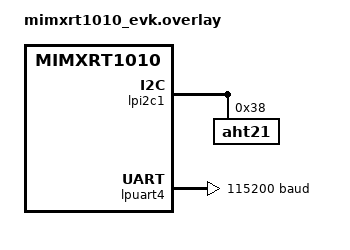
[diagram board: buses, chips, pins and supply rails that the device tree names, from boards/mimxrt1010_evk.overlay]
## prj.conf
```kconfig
CONFIG_GPIO=y
# CONFIG_I2C=y

# Added Foating point for Picolibc
CONFIG_HW_STACK_PROTECTION=y
CONFIG_CONSOLE=y
CONFIG_ARM_MPU=y
CONFIG_UART_CONSOLE=y
CONFIG_I2C=y
CONFIG_I2C_SHELL=y
CONFIG_REQUIRES_FLOAT_PRINTF=y
CONFIG_SHELL=y
CONFIG_DEBUG_OPTIMIZATIONS=y
```

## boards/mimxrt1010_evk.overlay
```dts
/{

		chosen {
		zephyr,console = &lpuart4;
		zephyr,shell-uart = &lpuart1;
		zephyr,uart-mcumgr = &lpuart1;
	};

};

&lpi2c1 {
  status = "okay";

	aht21: aht21@38 {
		// compatible (not yet)
		#io-channel-cells = <1>;
		reg = <0x38>;
		// label = "AHT21 Humidity and Temperature";	// <-deprecated
	};
};

&lpuart4 {
	status = "okay";
	current-speed = <115200>;
	pinctrl-0 = <&pinmux_lpuart4>;
	pinctrl-1 = <&pinmux_lpuart4_sleep>;
	pinctrl-names = "default", "sleep";
};
```

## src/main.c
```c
/*
 * Copyright (c) 2019 Nordic Semiconductor ASA
 *
 * SPDX-License-Identifier: Apache-2.0
 */

#include <zephyr/kernel.h>
#include <zephyr/device.h> 
#include <zephyr/drivers/i2c.h> 


#define I2C_NODE DT_NODELABEL(aht21)

#define STR_LEN 50	// strlen 
#define I2C_NOT_READY "i2c bus not ready"
#define I2C_ERROR_BUS_NOT_READY  "i2c error: bus is not ready"
#define I2C_ERROR_GET_STATUS "i2c error: GetStatus"
#define AHT_NEEDS_INITIALIZATION "AHT Needs Initialization"
#define I2C_ERROR_TRIGGER_MEASUREMENT  "i2c error: Trigger Measurement"
#define I2C_ERROR_READ_MEASUREMENT "i2c error: Read Measurement"

const uint16_t measurement_period = 250;

typedef enum {
	INIT,
	MEASUREMENT,
	SERVICE,
} aht_state_t;

typedef struct aht_tag {
	aht_state_t state;
	char str[STR_LEN];
	int eio;								// error i/o
	struct i2c_dt_spec i2c;
	int meas_period;
	double RH;
	double C;
	double F;
} aht_t;

int GetStatus(aht_t *a) {
	uint8_t get_status[] = {0x71};
	
	if( (a->eio = i2c_read_dt(&a->i2c, get_status, 1)) ) {
		sprintf(a->str,I2C_ERROR_GET_STATUS);	
		return 1;
	}
	
	if((get_status[0] & 0x18) != 0x18 ) {
		sprintf(a->str,AHT_NEEDS_INITIALIZATION);	
		return 1;
	}
	return 0;
}

void FormatData(aht_t *a, uint8_t *buffer) {
	static const uint32_t pow_2_20 = 0x100000;
	uint32_t s_rh = (uint32_t)buffer[1] << 12 | (uint32_t)buffer[2] << 4 | buffer[3] >> 4;
	a->RH = 100*((double)s_rh/pow_2_20);
	uint32_t s_t = (uint32_t)buffer[3] << 16 | (uint32_t)buffer[4] << 8 | (uint32_t)buffer[5];
	s_t &= 0x0FFFFF;
	a->C = ((double)s_t/pow_2_20)*200 -50;
	a->F = a->C *9/5 + 32;
}

int GetMeasurement(aht_t *a) {
	const uint8_t trigger_meas[] = { 0xAC, 0x33, 0x00};
	if((a->eio = i2c_write_dt(&a->i2c, trigger_meas, 3)) ) {
		sprintf(a->str,I2C_ERROR_TRIGGER_MEASUREMENT); 
		return 1;
	}
	k_msleep(80);
	a->meas_period = measurement_period - 80;
	const int max_retry = 10;
	for(int retries =0; retries < max_retry; ++retries) {
		uint8_t data[7];
		if((a->eio = i2c_read_dt(&a->i2c,data,7))) {
			sprintf(a->str, I2C_ERROR_READ_MEASUREMENT);	
			return 1;
		}
		else
			if((data[0]&0x80)==0) {
				FormatData(a, data);
				return 0;
			}
			else {
				k_msleep(20);	// retry - busy
				a->meas_period -= 20;
				if(a->meas_period < 0)
					a->meas_period = 0;
			}
	}
	sprintf(a->str, "No Data after %d retries", max_retry);
	return 1;
}

 void ServiceHandler(aht_t *aht) {
	static bool ack = false;
	static int count = 0;
	if(!ack) {
		printk("Service: %s\r\n",aht->str);
		ack = true;
	}
	if(strcmp(aht->str, AHT_NEEDS_INITIALIZATION)==0) {
		// look for web instrunctions
	}
	if(++count > 10) {
		ack = false;
		count =0;
		printf("No error recovery yet, reset sensor!\r\n");
		aht->state = INIT;
		k_msleep(5000);
	}
	else
		k_msleep(500);

 }

int AhtStateMachine(aht_t *a) {
	switch(a->state) {
		case INIT:
			if (!i2c_is_ready_dt(&a->i2c)) { 
				sprintf(a->str,I2C_ERROR_BUS_NOT_READY);	
				a->state = SERVICE;
				return 1; 
			}
			k_msleep(100);
			if(GetStatus(a) == 0) {
				a->state = MEASUREMENT;
				k_msleep(10);	
			}				
			else 
				a->state = SERVICE;
			break;

		case MEASUREMENT:
			if(GetMeasurement(a)==0)	
				k_msleep(a->meas_period);
			else
				a->state = SERVICE;
			break;

		case SERVICE:
			ServiceHandler(a);
			break;
	}
	return 0;
}

int main(void)
{
	aht_t aht21 = {
	.i2c = I2C_DT_SPEC_GET(I2C_NODE),
	.state = INIT,
	.eio = 0,
	};
	while(1) {
		AhtStateMachine(&aht21);
		if(aht21.state == MEASUREMENT)
			printk("RH: %f T: %fC, %fF\n",aht21.RH, aht21.C, aht21.F);
	}
	return 0;
}
```
